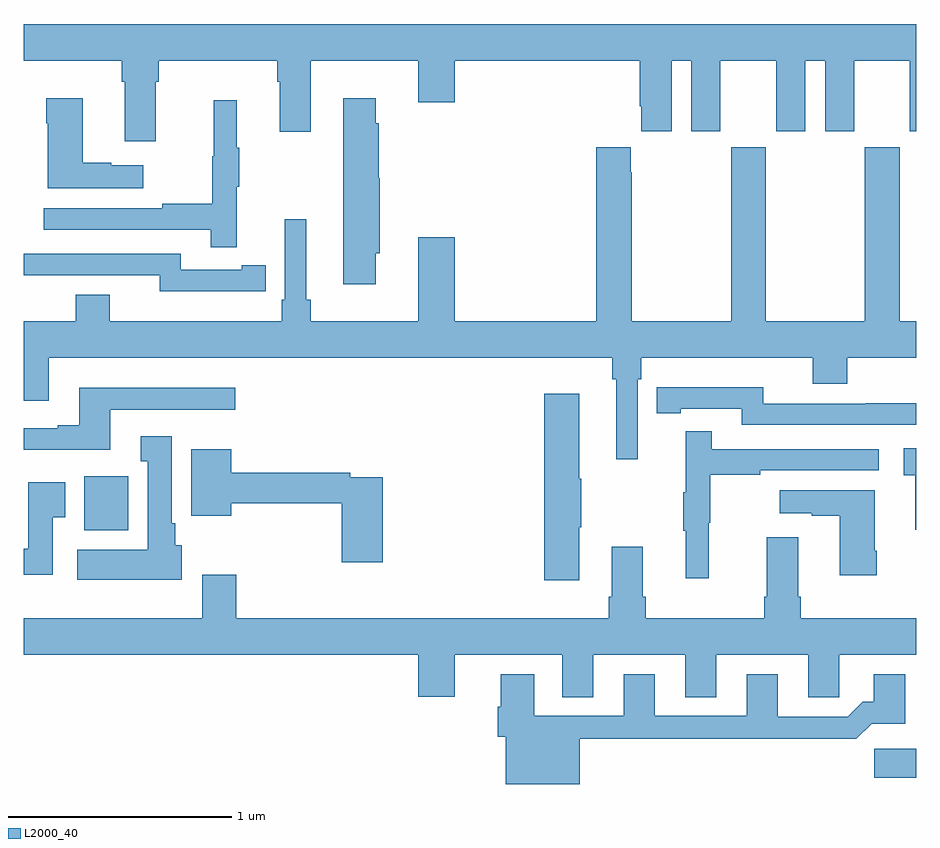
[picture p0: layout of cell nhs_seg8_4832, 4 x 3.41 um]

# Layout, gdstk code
import gdstk
lib = gdstk.Library(unit=1e-6, precision=1e-09)
def R(c, l, rs):  # rectangles x0, y0, x1, y1
    for r in rs: c.add(gdstk.rectangle(r[:2], r[2:], *l))
def P(c, l, *ps):  # polygons
    for p in ps: c.add(gdstk.Polygon(p, *l))
L2000_40 = (2000, 40)

nhs_seg8_4832 = lib.new_cell('nhs_seg8_4832')
R(nhs_seg8_4832, L2000_40, [(406.812,1135.928,407,1136.057), (403.271,1137.038,403.468,1137.28)])
P(nhs_seg8_4832, L2000_40, [(403.591,1139.048),(403.604,1139.048),(403.604,1139.144),(404.135,1139.144),(404.135,1139.048),(404.147,1139.048),(404.147,1138.824),(404.287,1138.824),(404.287,1139.144),(404.768,1139.144),(404.768,1138.956),(404.932,1138.956),(404.932,1139.144),(405.761,1139.144),(405.761,1138.939),(405.767,1138.939),(405.767,1138.827),(405.904,1138.827),(405.904,1139.144),(405.992,1139.144),(405.992,1138.827),(406.123,1138.827),(406.123,1139.144),(406.373,1139.144),(406.373,1138.827),(406.504,1138.827),(406.504,1139.144),(406.592,1139.144),(406.592,1138.827),(406.723,1138.827),(406.723,1139.144),(406.973,1139.144),(406.973,1138.827),(407,1138.827),(407,1139.308),(403,1139.308),(403,1139.144),(403.439,1139.144),(403.439,1139.048),(403.451,1139.048),(403.451,1138.782),(403.591,1138.782)],
  [(403.534,1138.675),(403.391,1138.675),(403.391,1138.685),(403.264,1138.685),(403.264,1138.975),(403.099,1138.975),(403.099,1138.862),(403.106,1138.862),(403.106,1138.571),(403.534,1138.571)],
  [(404.578,1138.281),(404.596,1138.281),(404.596,1138.617),(404.591,1138.617),(404.591,1138.862),(404.578,1138.862),(404.578,1138.975),(404.432,1138.975),(404.432,1138.14),(404.578,1138.14)],
  [(403.955,1138.579),(403.966,1138.579),(403.966,1138.753),(403.955,1138.753),(403.955,1138.966),(403.852,1138.966),(403.852,1138.716),(403.845,1138.716),(403.845,1138.502),(403.621,1138.502),(403.621,1138.482),(403.089,1138.482),(403.089,1138.386),(403.837,1138.386),(403.837,1138.308),(403.955,1138.308)],
  [(405.753,1137.716),(405.767,1137.716),(405.767,1137.812),(406.538,1137.812),(406.538,1137.695),(406.691,1137.695),(406.691,1137.812),(407,1137.812),(407,1137.976),(406.926,1137.976),(406.926,1138.756),(406.771,1138.756),(406.771,1137.976),(406.326,1137.976),(406.326,1138.756),(406.171,1138.756),(406.171,1137.976),(405.726,1137.976),(405.726,1138.643),(405.721,1138.643),(405.721,1138.756),(405.566,1138.756),(405.566,1137.976),(404.932,1137.976),(404.932,1138.351),(404.768,1138.351),(404.768,1137.976),(404.285,1137.976),(404.285,1138.072),(404.266,1138.072),(404.266,1138.432),(404.169,1138.432),(404.169,1138.072),(404.156,1138.072),(404.156,1137.976),(403.384,1137.976),(403.384,1138.093),(403.232,1138.093),(403.232,1137.976),(403,1137.976),(403,1137.618),(403.111,1137.618),(403.111,1137.812),(405.637,1137.812),(405.637,1137.716),(405.656,1137.716),(405.656,1137.357),(405.753,1137.357)],
  [(403.976,1138.11),(404.084,1138.11),(404.084,1138.226),(403.976,1138.226),(403.976,1138.206),(403.704,1138.206),(403.704,1138.278),(403,1138.278),(403,1138.181),(403.148,1138.181),(403.148,1138.182),(403.608,1138.182),(403.608,1138.109),(403.976,1138.109)],
  [(407,1137.608),(406.774,1137.608),(406.774,1137.606),(406.314,1137.606),(406.314,1137.679),(405.946,1137.679),(405.946,1137.678),(405.838,1137.678),(405.838,1137.562),(405.946,1137.562),(405.946,1137.582),(406.218,1137.582),(406.218,1137.51),(407,1137.51)],
  [(403.387,1137.579),(403.948,1137.579),(403.948,1137.676),(403.247,1137.676),(403.247,1137.508),(403.151,1137.508),(403.151,1137.495),(403,1137.495),(403,1137.398),(403.387,1137.398)],
  [(405.49,1137.052),(405.498,1137.052),(405.498,1137.269),(405.49,1137.269),(405.49,1137.649),(405.332,1137.649),(405.332,1136.814),(405.49,1136.814)],
  [(406.07,1137.072),(406.078,1137.072),(406.078,1137.286),(406.301,1137.286),(406.301,1137.306),(406.834,1137.306),(406.834,1137.402),(406.085,1137.402),(406.085,1137.481),(405.968,1137.481),(405.968,1137.209),(405.957,1137.209),(405.957,1137.035),(405.968,1137.035),(405.968,1136.823),(406.07,1136.823)],
  [(403.708,1136.97),(403.678,1136.97),(403.678,1137.07),(403.663,1137.07),(403.663,1137.46),(403.523,1137.46),(403.523,1137.347),(403.556,1137.347),(403.556,1136.95),(403.239,1136.95),(403.239,1136.816),(403.708,1136.816)],
  [(407,1137.406),(406.944,1137.406),(406.944,1137.285),(406.997,1137.285),(406.997,1137.039),(407,1137.039)],
  [(404.609,1137.276),(404.462,1137.276),(404.462,1137.296),(403.93,1137.296),(403.93,1137.4),(403.751,1137.4),(403.751,1137.104),(403.93,1137.104),(403.93,1137.16),(404.426,1137.16),(404.426,1136.895),(404.609,1136.895)],
  [(403.129,1137.097),(403.186,1137.097),(403.186,1137.253),(403.019,1137.253),(403.019,1136.956),(403,1136.956),(403,1136.838),(403.129,1136.838)],
  [(406.824,1136.947),(406.816,1136.947),(406.816,1137.217),(406.389,1137.217),(406.389,1137.113),(406.532,1137.113),(406.532,1137.103),(406.658,1137.103),(406.658,1136.835),(406.824,1136.835)],
  [(405.553,1136.48),(405.965,1136.48),(405.965,1136.29),(406.105,1136.29),(406.105,1136.48),(406.517,1136.48),(406.517,1136.29),(406.656,1136.29),(406.656,1136.48),(407,1136.48),(407,1136.644),(406.484,1136.644),(406.484,1136.74),(406.471,1136.74),(406.471,1137.007),(406.331,1137.007),(406.331,1136.74),(406.319,1136.74),(406.319,1136.644),(405.788,1136.644),(405.788,1136.74),(405.775,1136.74),(405.775,1136.965),(405.635,1136.965),(405.635,1136.74),(405.623,1136.74),(405.623,1136.644),(403.952,1136.644),(403.952,1136.839),(403.799,1136.839),(403.799,1136.644),(403,1136.644),(403,1136.48),(404.768,1136.48),(404.768,1136.292),(404.932,1136.292),(404.932,1136.48),(405.413,1136.48),(405.413,1136.29),(405.553,1136.29)],
  [(405.493,1136.104),(406.477,1136.104),(406.477,1136.102),(406.733,1136.102),(406.802,1136.171),(406.951,1136.171),(406.951,1136.392),(406.811,1136.392),(406.811,1136.269),(406.762,1136.269),(406.695,1136.202),(406.381,1136.202),(406.381,1136.392),(406.241,1136.392),(406.241,1136.205),(405.829,1136.205),(405.829,1136.392),(405.689,1136.392),(405.689,1136.205),(405.289,1136.205),(405.289,1136.392),(405.137,1136.392),(405.137,1136.246),(405.125,1136.246),(405.125,1136.112),(405.161,1136.112),(405.161,1135.9),(405.493,1135.9)])

lib.write_gds('nhs_seg8_4832.gds')
